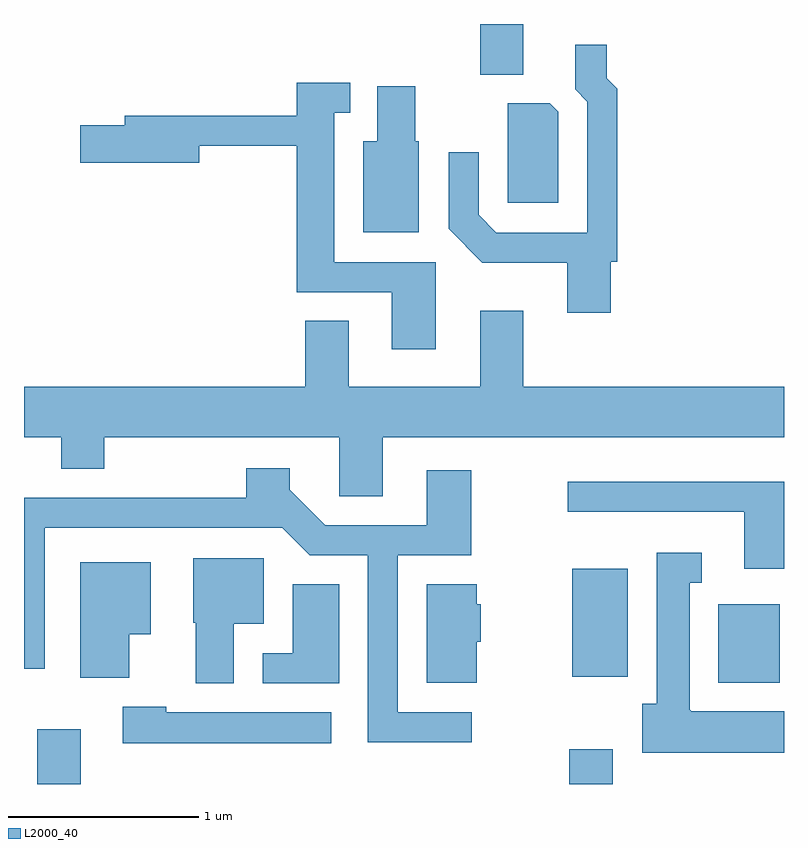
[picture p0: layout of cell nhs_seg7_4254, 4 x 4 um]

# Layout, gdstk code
import gdstk
lib = gdstk.Library(unit=1e-6, precision=1e-09)
def R(c, l, rs):  # rectangles x0, y0, x1, y1
    for r in rs: c.add(gdstk.rectangle(r[:2], r[2:], *l))
def P(c, l, *ps):  # polygons
    for p in ps: c.add(gdstk.Polygon(p, *l))
L2000_40 = (2000, 40)

nhs_seg7_4254 = lib.new_cell('nhs_seg7_4254')
R(nhs_seg7_4254, L2000_40, [(315.681,1730.252,315.909,1730.539), (318.481,1730.252,318.709,1730.434), (319.266,1730.786,319.589,1731.199), (318.496,1730.816,318.789,1731.384), (318.011,1733.986,318.239,1734.252)])
P(nhs_seg7_4254, L2000_40, [(318.699,1733.001),(318.734,1733.001),(318.734,1733.912),(318.679,1733.967),(318.679,1734.143),(318.511,1734.143),(318.511,1733.909),(318.576,1733.844),(318.576,1733.154),(318.097,1733.154),(318.004,1733.247),(318.004,1733.578),(317.846,1733.578),(317.846,1733.174),(318.024,1732.996),(318.471,1732.996),(318.471,1732.731),(318.699,1732.731)],
  [(317.779,1732.999),(317.244,1732.999),(317.244,1733.786),(317.328,1733.786),(317.328,1733.944),(317.046,1733.944),(317.046,1733.769),(316.141,1733.769),(316.141,1733.719),(315.906,1733.719),(315.906,1733.521),(316.534,1733.521),(316.534,1733.611),(317.046,1733.611),(317.046,1732.841),(317.546,1732.841),(317.546,1732.541),(317.779,1732.541)],
  [(317.689,1733.634),(317.669,1733.634),(317.669,1733.924),(317.471,1733.924),(317.471,1733.634),(317.396,1733.634),(317.396,1733.156),(317.689,1733.156)],
  [(318.424,1733.789),(318.379,1733.834),(318.156,1733.834),(318.156,1733.311),(318.424,1733.311)],
  [(317.499,1732.076),(319.611,1732.076),(319.611,1732.344),(318.239,1732.344),(318.239,1732.744),(318.011,1732.744),(318.011,1732.344),(317.319,1732.344),(317.319,1732.689),(317.091,1732.689),(317.091,1732.344),(315.611,1732.344),(315.611,1732.076),(315.806,1732.076),(315.806,1731.911),(316.034,1731.911),(316.034,1732.076),(317.271,1732.076),(317.271,1731.766),(317.499,1731.766)],
  [(317.968,1730.629),(317.579,1730.629),(317.579,1731.456),(317.964,1731.456),(317.964,1731.904),(317.731,1731.904),(317.731,1731.614),(317.197,1731.614),(317.009,1731.802),(317.009,1731.914),(316.781,1731.914),(316.781,1731.759),(315.611,1731.759),(315.611,1730.858),(315.719,1730.858),(315.719,1731.601),(316.969,1731.601),(317.114,1731.456),(317.421,1731.456),(317.421,1730.471),(317.968,1730.471)],
  [(319.611,1731.844),(318.473,1731.844),(318.473,1731.686),(319.401,1731.686),(319.401,1731.386),(319.611,1731.386)],
  [(319.611,1730.634),(319.12,1730.634),(319.12,1730.64),(319.114,1730.64),(319.114,1731.311),(319.178,1731.311),(319.178,1731.469),(318.941,1731.469),(318.941,1730.674),(318.866,1730.674),(318.866,1730.416),(319.611,1730.416)],
  [(316.714,1731.096),(316.874,1731.096),(316.874,1731.439),(316.501,1731.439),(316.501,1731.1),(316.516,1731.1),(316.516,1730.781),(316.714,1730.781)],
  [(316.164,1731.041),(316.279,1731.041),(316.279,1731.419),(315.906,1731.419),(315.906,1730.811),(316.164,1730.811)],
  [(317.269,1731.304),(317.026,1731.304),(317.026,1730.939),(316.868,1730.939),(316.868,1730.781),(317.269,1730.781)],
  [(317.994,1731.001),(318.014,1731.001),(318.014,1731.199),(317.994,1731.199),(317.994,1731.304),(317.731,1731.304),(317.731,1730.786),(317.994,1730.786)],
  [(317.228,1730.629),(316.359,1730.629),(316.359,1730.659),(316.131,1730.659),(316.131,1730.466),(317.228,1730.466)])

lib.write_gds('nhs_seg7_4254.gds')
